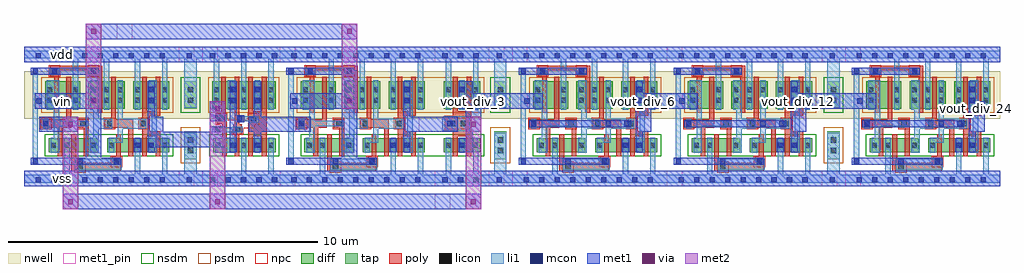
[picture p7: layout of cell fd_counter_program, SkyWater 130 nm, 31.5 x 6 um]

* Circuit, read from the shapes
.subckt fd_counter_program vdd vin vout_div_12 vout_div_24 vout_div_3 vout_div_6 vss
XM1 vss vout_div_3 fd_div_3_3/sc_dff_3/sky130_fd_pr__nfet_01v8_sc_dff_m3_8/D vss sky130_fd_pr__nfet_01v8 w=0.45 l=0.15
XM2 fd_div_3_3/sc_dff_3/sky130_fd_pr__nfet_01v8_sc_dff_m6_5/D vin vss vss sky130_fd_pr__nfet_01v8 w=0.45 l=0.15
XM3 fd_div_3_3/sc_dff_3/sky130_fd_pr__nfet_01v8_sc_dff_m5_6/D fd_div_3_3/sc_dff_3/sky130_fd_pr__nfet_01v8_sc_dff_m3_8/D fd_div_3_3/sc_dff_3/sky130_fd_pr__nfet_01v8_sc_dff_m6_5/D vss sky130_fd_pr__nfet_01v8 w=0.45 l=0.15
XM4 fd_div_3_3/sc_dff_3/sky130_fd_pr__nfet_01v8_sc_dff_m9_2/D vin fd_div_3_3/sc_dff_3/sky130_fd_pr__nfet_01v8_sc_dff_m8_3/D vss sky130_fd_pr__nfet_01v8 w=0.45 l=0.15
XM5 vss fd_div_3_3/sc_dff_3/sky130_fd_pr__nfet_01v8_sc_dff_m5_6/D fd_div_3_3/sc_dff_3/sky130_fd_pr__nfet_01v8_sc_dff_m9_2/D vss sky130_fd_pr__nfet_01v8 w=0.45 l=0.15
XM6 fd_div_3_3/sc_and2_2/b fd_div_3_3/sc_dff_3/sky130_fd_pr__nfet_01v8_sc_dff_m8_3/D vss vss sky130_fd_pr__nfet_01v8 w=0.45 l=0.15 m=2
XM7 fd_div_3_3/sc_and2_2/sky130_fd_pr__nfet_01v8_sc_and2_m4_2/D vout_div_3 fd_div_3_3/sc_and2_2/sky130_fd_pr__nfet_01v8_sc_and2_m3_3/D vss sky130_fd_pr__nfet_01v8 w=0.45 l=0.15
XM8 vss fd_div_3_3/sc_and2_2/b fd_div_3_3/sc_and2_2/sky130_fd_pr__nfet_01v8_sc_and2_m4_2/D vss sky130_fd_pr__nfet_01v8 w=0.45 l=0.15
XM9 fd_div_3_3/sc_dff_1/d fd_div_3_3/sc_and2_2/sky130_fd_pr__nfet_01v8_sc_and2_m3_3/D vss vss sky130_fd_pr__nfet_01v8 w=0.45 l=0.15 m=2
XM10 vss fd_div_3_3/sc_dff_1/d fd_div_3_3/sc_dff_1/sky130_fd_pr__nfet_01v8_sc_dff_m3_8/D vss sky130_fd_pr__nfet_01v8 w=0.45 l=0.15
XM11 fd_div_3_3/sc_dff_1/sky130_fd_pr__nfet_01v8_sc_dff_m6_5/D vin vss vss sky130_fd_pr__nfet_01v8 w=0.45 l=0.15
XM12 fd_div_3_3/sc_dff_1/sky130_fd_pr__nfet_01v8_sc_dff_m5_6/D fd_div_3_3/sc_dff_1/sky130_fd_pr__nfet_01v8_sc_dff_m3_8/D fd_div_3_3/sc_dff_1/sky130_fd_pr__nfet_01v8_sc_dff_m6_5/D vss sky130_fd_pr__nfet_01v8 w=0.45 l=0.15
XM13 fd_div_3_3/sc_dff_1/sky130_fd_pr__nfet_01v8_sc_dff_m9_2/D vin fd_div_3_3/sc_dff_1/sky130_fd_pr__nfet_01v8_sc_dff_m8_3/D vss sky130_fd_pr__nfet_01v8 w=0.45 l=0.15
XM14 vss fd_div_3_3/sc_dff_1/sky130_fd_pr__nfet_01v8_sc_dff_m5_6/D fd_div_3_3/sc_dff_1/sky130_fd_pr__nfet_01v8_sc_dff_m9_2/D vss sky130_fd_pr__nfet_01v8 w=0.45 l=0.15
XM15 fd_div_3_3/sc_dff_1/q fd_div_3_3/sc_dff_1/sky130_fd_pr__nfet_01v8_sc_dff_m8_3/D vss vss sky130_fd_pr__nfet_01v8 w=0.45 l=0.15 m=2
XM16 vout_div_3 fd_div_3_3/sc_dff_1/q vss vss sky130_fd_pr__nfet_01v8 w=0.45 l=0.15 m=2
XM17 vss fd_div_2_2/sky130_fd_pr__nfet_01v8_sc_dff_m8_3/D fd_div_2_2/sky130_fd_pr__nfet_01v8_sc_dff_m3_8/D vss sky130_fd_pr__nfet_01v8 w=0.45 l=0.15
XM18 fd_div_2_2/sky130_fd_pr__nfet_01v8_sc_dff_m6_5/D vout_div_3 vss vss sky130_fd_pr__nfet_01v8 w=0.45 l=0.15
XM19 fd_div_2_2/sky130_fd_pr__nfet_01v8_sc_dff_m5_6/D fd_div_2_2/sky130_fd_pr__nfet_01v8_sc_dff_m3_8/D fd_div_2_2/sky130_fd_pr__nfet_01v8_sc_dff_m6_5/D vss sky130_fd_pr__nfet_01v8 w=0.45 l=0.15
XM20 fd_div_2_2/sky130_fd_pr__nfet_01v8_sc_dff_m9_2/D vout_div_3 fd_div_2_2/sky130_fd_pr__nfet_01v8_sc_dff_m8_3/D vss sky130_fd_pr__nfet_01v8 w=0.45 l=0.15
XM21 vss fd_div_2_2/sky130_fd_pr__nfet_01v8_sc_dff_m5_6/D fd_div_2_2/sky130_fd_pr__nfet_01v8_sc_dff_m9_2/D vss sky130_fd_pr__nfet_01v8 w=0.45 l=0.15
XM22 vout_div_6 fd_div_2_2/sky130_fd_pr__nfet_01v8_sc_dff_m8_3/D vss vss sky130_fd_pr__nfet_01v8 w=0.45 l=0.15 m=2
XM23 vss fd_div_2_1/sky130_fd_pr__nfet_01v8_sc_dff_m8_3/D fd_div_2_1/sky130_fd_pr__nfet_01v8_sc_dff_m3_8/D vss sky130_fd_pr__nfet_01v8 w=0.45 l=0.15
XM24 fd_div_2_1/sky130_fd_pr__nfet_01v8_sc_dff_m6_5/D vout_div_6 vss vss sky130_fd_pr__nfet_01v8 w=0.45 l=0.15
XM25 fd_div_2_1/sky130_fd_pr__nfet_01v8_sc_dff_m5_6/D fd_div_2_1/sky130_fd_pr__nfet_01v8_sc_dff_m3_8/D fd_div_2_1/sky130_fd_pr__nfet_01v8_sc_dff_m6_5/D vss sky130_fd_pr__nfet_01v8 w=0.45 l=0.15
XM26 fd_div_2_1/sky130_fd_pr__nfet_01v8_sc_dff_m9_2/D vout_div_6 fd_div_2_1/sky130_fd_pr__nfet_01v8_sc_dff_m8_3/D vss sky130_fd_pr__nfet_01v8 w=0.45 l=0.15
XM27 vss fd_div_2_1/sky130_fd_pr__nfet_01v8_sc_dff_m5_6/D fd_div_2_1/sky130_fd_pr__nfet_01v8_sc_dff_m9_2/D vss sky130_fd_pr__nfet_01v8 w=0.45 l=0.15
XM28 vout_div_12 fd_div_2_1/sky130_fd_pr__nfet_01v8_sc_dff_m8_3/D vss vss sky130_fd_pr__nfet_01v8 w=0.45 l=0.15 m=2
XM29 vss fd_div_2_0/sky130_fd_pr__nfet_01v8_sc_dff_m8_3/D fd_div_2_0/sky130_fd_pr__nfet_01v8_sc_dff_m3_8/D vss sky130_fd_pr__nfet_01v8 w=0.45 l=0.15
XM30 fd_div_2_0/sky130_fd_pr__nfet_01v8_sc_dff_m6_5/D vout_div_12 vss vss sky130_fd_pr__nfet_01v8 w=0.45 l=0.15
XM31 fd_div_2_0/sky130_fd_pr__nfet_01v8_sc_dff_m5_6/D fd_div_2_0/sky130_fd_pr__nfet_01v8_sc_dff_m3_8/D fd_div_2_0/sky130_fd_pr__nfet_01v8_sc_dff_m6_5/D vss sky130_fd_pr__nfet_01v8 w=0.45 l=0.15
XM32 fd_div_2_0/sky130_fd_pr__nfet_01v8_sc_dff_m9_2/D vout_div_12 fd_div_2_0/sky130_fd_pr__nfet_01v8_sc_dff_m8_3/D vss sky130_fd_pr__nfet_01v8 w=0.45 l=0.15
XM33 vss fd_div_2_0/sky130_fd_pr__nfet_01v8_sc_dff_m5_6/D fd_div_2_0/sky130_fd_pr__nfet_01v8_sc_dff_m9_2/D vss sky130_fd_pr__nfet_01v8 w=0.45 l=0.15
XM34 vout_div_24 fd_div_2_0/sky130_fd_pr__nfet_01v8_sc_dff_m8_3/D vss vss sky130_fd_pr__nfet_01v8 w=0.45 l=0.15 m=2
XM35 fd_div_3_3/sc_dff_3/sky130_fd_pr__pfet_01v8_sc_dff_m1_10/D vin fd_div_3_3/sc_dff_3/sky130_fd_pr__nfet_01v8_sc_dff_m3_8/D vdd sky130_fd_pr__pfet_01v8 w=0.9 l=0.15
XM36 vdd vout_div_3 fd_div_3_3/sc_dff_3/sky130_fd_pr__pfet_01v8_sc_dff_m1_10/D vdd sky130_fd_pr__pfet_01v8 w=0.9 l=0.15
XM37 vdd vin fd_div_3_3/sc_dff_3/sky130_fd_pr__nfet_01v8_sc_dff_m5_6/D vdd sky130_fd_pr__pfet_01v8 w=0.9 l=0.15
XM38 fd_div_3_3/sc_dff_3/sky130_fd_pr__nfet_01v8_sc_dff_m8_3/D fd_div_3_3/sc_dff_3/sky130_fd_pr__nfet_01v8_sc_dff_m5_6/D vdd vdd sky130_fd_pr__pfet_01v8 w=0.9 l=0.15
XM39 fd_div_3_3/sc_and2_2/b fd_div_3_3/sc_dff_3/sky130_fd_pr__nfet_01v8_sc_dff_m8_3/D vdd vdd sky130_fd_pr__pfet_01v8 w=0.9 l=0.15 m=2
XM40 fd_div_3_3/sc_and2_2/sky130_fd_pr__nfet_01v8_sc_and2_m3_3/D vout_div_3 vdd vdd sky130_fd_pr__pfet_01v8 w=0.9 l=0.15
XM41 vdd fd_div_3_3/sc_and2_2/b fd_div_3_3/sc_and2_2/sky130_fd_pr__nfet_01v8_sc_and2_m3_3/D vdd sky130_fd_pr__pfet_01v8 w=0.9 l=0.15
XM42 fd_div_3_3/sc_dff_1/d fd_div_3_3/sc_and2_2/sky130_fd_pr__nfet_01v8_sc_and2_m3_3/D vdd vdd sky130_fd_pr__pfet_01v8 w=0.9 l=0.15 m=2
XM43 fd_div_3_3/sc_dff_1/sky130_fd_pr__pfet_01v8_sc_dff_m1_10/D vin fd_div_3_3/sc_dff_1/sky130_fd_pr__nfet_01v8_sc_dff_m3_8/D vdd sky130_fd_pr__pfet_01v8 w=0.9 l=0.15
XM44 vdd fd_div_3_3/sc_dff_1/d fd_div_3_3/sc_dff_1/sky130_fd_pr__pfet_01v8_sc_dff_m1_10/D vdd sky130_fd_pr__pfet_01v8 w=0.9 l=0.15
XM45 vdd vin fd_div_3_3/sc_dff_1/sky130_fd_pr__nfet_01v8_sc_dff_m5_6/D vdd sky130_fd_pr__pfet_01v8 w=0.9 l=0.15
XM46 fd_div_3_3/sc_dff_1/sky130_fd_pr__nfet_01v8_sc_dff_m8_3/D fd_div_3_3/sc_dff_1/sky130_fd_pr__nfet_01v8_sc_dff_m5_6/D vdd vdd sky130_fd_pr__pfet_01v8 w=0.9 l=0.15
XM47 fd_div_3_3/sc_dff_1/q fd_div_3_3/sc_dff_1/sky130_fd_pr__nfet_01v8_sc_dff_m8_3/D vdd vdd sky130_fd_pr__pfet_01v8 w=0.9 l=0.15 m=2
XM48 vout_div_3 fd_div_3_3/sc_dff_1/q vdd vdd sky130_fd_pr__pfet_01v8 w=0.9 l=0.15 m=2
XM49 fd_div_2_2/sky130_fd_pr__pfet_01v8_sc_dff_m1_10/D vout_div_3 fd_div_2_2/sky130_fd_pr__nfet_01v8_sc_dff_m3_8/D vdd sky130_fd_pr__pfet_01v8 w=0.9 l=0.15
XM50 vdd fd_div_2_2/sky130_fd_pr__nfet_01v8_sc_dff_m8_3/D fd_div_2_2/sky130_fd_pr__pfet_01v8_sc_dff_m1_10/D vdd sky130_fd_pr__pfet_01v8 w=0.9 l=0.15
XM51 vdd vout_div_3 fd_div_2_2/sky130_fd_pr__nfet_01v8_sc_dff_m5_6/D vdd sky130_fd_pr__pfet_01v8 w=0.9 l=0.15
XM52 fd_div_2_2/sky130_fd_pr__nfet_01v8_sc_dff_m8_3/D fd_div_2_2/sky130_fd_pr__nfet_01v8_sc_dff_m5_6/D vdd vdd sky130_fd_pr__pfet_01v8 w=0.9 l=0.15
XM53 vout_div_6 fd_div_2_2/sky130_fd_pr__nfet_01v8_sc_dff_m8_3/D vdd vdd sky130_fd_pr__pfet_01v8 w=0.9 l=0.15 m=2
XM54 fd_div_2_1/sky130_fd_pr__pfet_01v8_sc_dff_m1_10/D vout_div_6 fd_div_2_1/sky130_fd_pr__nfet_01v8_sc_dff_m3_8/D vdd sky130_fd_pr__pfet_01v8 w=0.9 l=0.15
XM55 vdd fd_div_2_1/sky130_fd_pr__nfet_01v8_sc_dff_m8_3/D fd_div_2_1/sky130_fd_pr__pfet_01v8_sc_dff_m1_10/D vdd sky130_fd_pr__pfet_01v8 w=0.9 l=0.15
XM56 vdd vout_div_6 fd_div_2_1/sky130_fd_pr__nfet_01v8_sc_dff_m5_6/D vdd sky130_fd_pr__pfet_01v8 w=0.9 l=0.15
XM57 fd_div_2_1/sky130_fd_pr__nfet_01v8_sc_dff_m8_3/D fd_div_2_1/sky130_fd_pr__nfet_01v8_sc_dff_m5_6/D vdd vdd sky130_fd_pr__pfet_01v8 w=0.9 l=0.15
XM58 vout_div_12 fd_div_2_1/sky130_fd_pr__nfet_01v8_sc_dff_m8_3/D vdd vdd sky130_fd_pr__pfet_01v8 w=0.9 l=0.15 m=2
XM59 fd_div_2_0/sky130_fd_pr__pfet_01v8_sc_dff_m1_10/D vout_div_12 fd_div_2_0/sky130_fd_pr__nfet_01v8_sc_dff_m3_8/D vdd sky130_fd_pr__pfet_01v8 w=0.9 l=0.15
XM60 vdd fd_div_2_0/sky130_fd_pr__nfet_01v8_sc_dff_m8_3/D fd_div_2_0/sky130_fd_pr__pfet_01v8_sc_dff_m1_10/D vdd sky130_fd_pr__pfet_01v8 w=0.9 l=0.15
XM61 vdd vout_div_12 fd_div_2_0/sky130_fd_pr__nfet_01v8_sc_dff_m5_6/D vdd sky130_fd_pr__pfet_01v8 w=0.9 l=0.15
XM62 fd_div_2_0/sky130_fd_pr__nfet_01v8_sc_dff_m8_3/D fd_div_2_0/sky130_fd_pr__nfet_01v8_sc_dff_m5_6/D vdd vdd sky130_fd_pr__pfet_01v8 w=0.9 l=0.15
XM63 vout_div_24 fd_div_2_0/sky130_fd_pr__nfet_01v8_sc_dff_m8_3/D vdd vdd sky130_fd_pr__pfet_01v8 w=0.9 l=0.15 m=2
.ends

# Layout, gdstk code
from math import pi, radians
import gdstk
lib = gdstk.Library(unit=1e-6, precision=1e-09)
def R(c, l, rs):  # rectangles x0, y0, x1, y1
    for r in rs: c.add(gdstk.rectangle(r[:2], r[2:], *l))
def A(c, l, x, y, w, h, nx, ny, dx, dy):  # array of equal rectangles
    R(c, l, [(x+i*dx, y+j*dy, x+i*dx+w, y+j*dy+h) for i in range(nx) for j in range(ny)])
nwell = (64, 20)
diff = (65, 20)
tap = (65, 44)
poly = (66, 20)
licon = (66, 44)
li1 = (67, 20)
mcon = (67, 44)
met1_pin = (68, 16)
met1 = (68, 20)
via = (68, 44)
met2 = (69, 20)
nsdm = (93, 44)
psdm = (94, 20)
npc = (95, 20)

sky130_fd_pr__nfet_01v8_ = lib.new_cell('sky130_fd_pr__nfet_01v8_scc_inv_m2')
R(sky130_fd_pr__nfet_01v8_, diff, [(7.265,-4.22,8.435,-3.77)])
R(sky130_fd_pr__nfet_01v8_, poly, [(7.555,-4.35,7.705,-3.695), (7.995,-4.35,8.145,-3.695), (7.555,-3.695,8.145,-3.545)])
A(sky130_fd_pr__nfet_01v8_, licon, 7.325, -4.08, 0.17, 0.17, 3, 1, 0.44, 0)
A(sky130_fd_pr__nfet_01v8_, li1, 7.325, -4.24, 0.17, 0.49, 3, 1, 0.44, 0)
R(sky130_fd_pr__nfet_01v8_, mcon, [(7.765,-4.08,7.935,-3.91)])
R(sky130_fd_pr__nfet_01v8_, met1, [(7.735,-4.22,7.965,-3.77)])
R(sky130_fd_pr__nfet_01v8_, nsdm, [(7.14,-4.345,8.56,-3.645)])
sky130_fd_pr__nfet_01v8_.add(gdstk.Label('D0', (7.85,-3.995), layer=67, texttype=5))
sky130_fd_pr__nfet_01v8_.add(gdstk.Label('S0', (7.41,-3.995), layer=67, texttype=5))
sky130_fd_pr__nfet_01v8_.add(gdstk.Label('D1', (7.85,-3.995), layer=67, texttype=5))
sky130_fd_pr__nfet_01v8_.add(gdstk.Label('S1', (8.29,-3.995), layer=67, texttype=5))

sky130_fd_pr__pfet_01v8_ = lib.new_cell('sky130_fd_pr__pfet_01v8_scc_inv_m1')
R(sky130_fd_pr__pfet_01v8_, nwell, [(6.85,-4.65,8.38,-3.13)])
R(sky130_fd_pr__pfet_01v8_, diff, [(7.03,-4.34,8.2,-3.44)])
R(sky130_fd_pr__pfet_01v8_, poly, [(7.32,-4.565,7.91,-4.415), (7.32,-4.415,7.47,-3.31), (7.76,-4.415,7.91,-3.31)])
A(sky130_fd_pr__pfet_01v8_, licon, 7.09, -4.145, 0.17, 0.17, 3, 2, 0.44, 0.34)
A(sky130_fd_pr__pfet_01v8_, li1, 7.09, -4.36, 0.17, 0.94, 3, 1, 0.44, 0)
R(sky130_fd_pr__pfet_01v8_, mcon, [(7.53,-4.155,7.7,-3.985), (7.53,-3.795,7.7,-3.625)])
R(sky130_fd_pr__pfet_01v8_, met1, [(7.5,-4.34,7.73,-3.44)])
R(sky130_fd_pr__pfet_01v8_, psdm, [(6.905,-4.465,8.325,-3.315)])
sky130_fd_pr__pfet_01v8_.add(gdstk.Label('D0', (7.615,-3.89), layer=67, texttype=5))
sky130_fd_pr__pfet_01v8_.add(gdstk.Label('S0', (7.175,-3.89), layer=67, texttype=5))
sky130_fd_pr__pfet_01v8_.add(gdstk.Label('D1', (7.615,-3.89), layer=67, texttype=5))
sky130_fd_pr__pfet_01v8_.add(gdstk.Label('S1', (8.055,-3.89), layer=67, texttype=5))

c_sky130_fd_pr__nfet_01v8_ = lib.new_cell('sky130_fd_pr__nfet_01v8_sc_dff_m9')
R(c_sky130_fd_pr__nfet_01v8_, diff, [(-0.325,-0.225,0.365,0.225)])
R(c_sky130_fd_pr__nfet_01v8_, poly, [(-0.075,-0.355,0.075,0.355)])
R(c_sky130_fd_pr__nfet_01v8_, licon, [(0.135,-0.085,0.305,0.085)])
R(c_sky130_fd_pr__nfet_01v8_, li1, [(0.135,-0.245,0.305,0.245)])
R(c_sky130_fd_pr__nfet_01v8_, mcon, [(0.135,-0.085,0.305,0.085)])
R(c_sky130_fd_pr__nfet_01v8_, met1, [(0.105,-0.225,0.335,0.225)])
R(c_sky130_fd_pr__nfet_01v8_, nsdm, [(-0.45,-0.35,0.49,0.35)])
c_sky130_fd_pr__nfet_01v8_.add(gdstk.Label('D', (-0.22,0), layer=65, texttype=6))
c_sky130_fd_pr__nfet_01v8_.add(gdstk.Label('S', (0.22,0), layer=67, texttype=5))

c_sky130_fd_pr__nfet_01v8__ = lib.new_cell('sky130_fd_pr__nfet_01v8_sc_dff_m8')
R(c_sky130_fd_pr__nfet_01v8__, diff, [(-0.365,-0.225,0.325,0.225)])
R(c_sky130_fd_pr__nfet_01v8__, poly, [(-0.075,-0.355,0.075,0.355)])
R(c_sky130_fd_pr__nfet_01v8__, licon, [(-0.305,-0.085,-0.135,0.085)])
R(c_sky130_fd_pr__nfet_01v8__, li1, [(-0.305,-0.245,-0.135,0.245)])
R(c_sky130_fd_pr__nfet_01v8__, nsdm, [(-0.49,-0.35,0.45,0.35)])
c_sky130_fd_pr__nfet_01v8__.add(gdstk.Label('D', (-0.22,0), layer=67, texttype=5))
c_sky130_fd_pr__nfet_01v8__.add(gdstk.Label('S', (0.22,0), layer=65, texttype=6))

c_sky130_fd_pr__pfet_01v8_ = lib.new_cell('sky130_fd_pr__pfet_01v8_sc_dff_m7')
R(c_sky130_fd_pr__pfet_01v8_, nwell, [(-0.545,-0.76,0.545,0.76)])
R(c_sky130_fd_pr__pfet_01v8_, diff, [(-0.365,-0.45,0.365,0.45)])
R(c_sky130_fd_pr__pfet_01v8_, poly, [(-0.075,-0.58,0.075,0.58)])
R(c_sky130_fd_pr__pfet_01v8_, licon, [(-0.305,-0.255,-0.135,-0.085), (0.135,-0.255,0.305,-0.085), (-0.305,0.085,-0.135,0.255), (0.135,0.085,0.305,0.255)])
R(c_sky130_fd_pr__pfet_01v8_, li1, [(-0.305,-0.47,-0.135,0.47), (0.135,-0.47,0.305,0.47)])
R(c_sky130_fd_pr__pfet_01v8_, psdm, [(-0.49,-0.575,0.49,0.575)])
c_sky130_fd_pr__pfet_01v8_.add(gdstk.Label('D', (-0.22,0), layer=67, texttype=5))
c_sky130_fd_pr__pfet_01v8_.add(gdstk.Label('S', (0.22,0), layer=67, texttype=5))

c_sky130_fd_pr__nfet_01v8___ = lib.new_cell('sky130_fd_pr__nfet_01v8_sc_dff_m6')
R(c_sky130_fd_pr__nfet_01v8___, diff, [(-0.325,-0.225,0.365,0.225)])
R(c_sky130_fd_pr__nfet_01v8___, poly, [(-0.075,-0.355,0.075,0.355)])
R(c_sky130_fd_pr__nfet_01v8___, licon, [(0.135,-0.085,0.305,0.085)])
R(c_sky130_fd_pr__nfet_01v8___, li1, [(0.135,-0.245,0.305,0.245)])
R(c_sky130_fd_pr__nfet_01v8___, nsdm, [(-0.45,-0.35,0.49,0.35)])
c_sky130_fd_pr__nfet_01v8___.add(gdstk.Label('D', (-0.22,0), layer=65, texttype=6))
c_sky130_fd_pr__nfet_01v8___.add(gdstk.Label('S', (0.22,0), layer=67, texttype=5))

c_sky130_fd_pr__nfet_01v8____ = lib.new_cell('sky130_fd_pr__nfet_01v8_sc_dff_m5')
R(c_sky130_fd_pr__nfet_01v8____, diff, [(-0.365,-0.225,0.325,0.225)])
R(c_sky130_fd_pr__nfet_01v8____, poly, [(-0.075,-0.355,0.075,0.355)])
R(c_sky130_fd_pr__nfet_01v8____, licon, [(-0.305,-0.085,-0.135,0.085)])
R(c_sky130_fd_pr__nfet_01v8____, li1, [(-0.305,-0.245,-0.135,0.245)])
R(c_sky130_fd_pr__nfet_01v8____, nsdm, [(-0.49,-0.35,0.45,0.35)])
c_sky130_fd_pr__nfet_01v8____.add(gdstk.Label('D', (-0.22,0), layer=67, texttype=5))
c_sky130_fd_pr__nfet_01v8____.add(gdstk.Label('S', (0.22,0), layer=65, texttype=6))

c_sky130_fd_pr__pfet_01v8__ = lib.new_cell('sky130_fd_pr__pfet_01v8_sc_dff_m4')
R(c_sky130_fd_pr__pfet_01v8__, nwell, [(-0.545,-0.76,0.545,0.76)])
R(c_sky130_fd_pr__pfet_01v8__, diff, [(-0.365,-0.45,0.365,0.45)])
R(c_sky130_fd_pr__pfet_01v8__, poly, [(-0.075,-0.58,0.075,0.58)])
R(c_sky130_fd_pr__pfet_01v8__, licon, [(-0.305,-0.255,-0.135,-0.085), (0.135,-0.255,0.305,-0.085), (-0.305,0.085,-0.135,0.255), (0.135,0.085,0.305,0.255)])
R(c_sky130_fd_pr__pfet_01v8__, li1, [(-0.305,-0.47,-0.135,0.47), (0.135,-0.47,0.305,0.47)])
R(c_sky130_fd_pr__pfet_01v8__, psdm, [(-0.49,-0.575,0.49,0.575)])
c_sky130_fd_pr__pfet_01v8__.add(gdstk.Label('D', (-0.22,0), layer=67, texttype=5))
c_sky130_fd_pr__pfet_01v8__.add(gdstk.Label('S', (0.22,0), layer=67, texttype=5))

c_sky130_fd_pr__nfet_01v8_____ = lib.new_cell('sky130_fd_pr__nfet_01v8_sc_dff_m3')
R(c_sky130_fd_pr__nfet_01v8_____, diff, [(4.75,-7.11,5.48,-6.66)])
R(c_sky130_fd_pr__nfet_01v8_____, poly, [(5.04,-7.24,5.19,-6.53)])
R(c_sky130_fd_pr__nfet_01v8_____, licon, [(4.81,-6.97,4.98,-6.8), (5.25,-6.97,5.42,-6.8)])
R(c_sky130_fd_pr__nfet_01v8_____, li1, [(4.81,-7.13,4.98,-6.64), (5.25,-7.13,5.42,-6.64)])
R(c_sky130_fd_pr__nfet_01v8_____, nsdm, [(4.625,-7.235,5.605,-6.535)])
c_sky130_fd_pr__nfet_01v8_____.add(gdstk.Label('D', (4.895,-6.885), layer=67, texttype=5))
c_sky130_fd_pr__nfet_01v8_____.add(gdstk.Label('S', (5.335,-6.885), layer=67, texttype=5))

c_sky130_fd_pr__pfet_01v8___ = lib.new_cell('sky130_fd_pr__pfet_01v8_sc_dff_m2')
R(c_sky130_fd_pr__pfet_01v8___, nwell, [(-0.545,-0.76,0.505,0.76)])
R(c_sky130_fd_pr__pfet_01v8___, diff, [(-0.365,-0.45,0.325,0.45)])
R(c_sky130_fd_pr__pfet_01v8___, poly, [(-0.075,-0.58,0.075,0.58)])
R(c_sky130_fd_pr__pfet_01v8___, licon, [(-0.305,-0.255,-0.135,-0.085), (-0.305,0.085,-0.135,0.255)])
R(c_sky130_fd_pr__pfet_01v8___, li1, [(-0.305,-0.47,-0.135,0.47)])
R(c_sky130_fd_pr__pfet_01v8___, psdm, [(-0.49,-0.575,0.45,0.575)])
c_sky130_fd_pr__pfet_01v8___.add(gdstk.Label('D', (-0.22,0), layer=67, texttype=5))
c_sky130_fd_pr__pfet_01v8___.add(gdstk.Label('S', (0.22,0), layer=65, texttype=6))

c_sky130_fd_pr__pfet_01v8____ = lib.new_cell('sky130_fd_pr__pfet_01v8_sc_dff_m1')
R(c_sky130_fd_pr__pfet_01v8____, nwell, [(-0.545,-0.76,0.545,0.76)])
R(c_sky130_fd_pr__pfet_01v8____, diff, [(-0.325,-0.45,0.365,0.45)])
R(c_sky130_fd_pr__pfet_01v8____, poly, [(-0.075,-0.58,0.075,0.58)])
R(c_sky130_fd_pr__pfet_01v8____, licon, [(0.135,-0.255,0.305,-0.085), (0.135,0.085,0.305,0.255)])
R(c_sky130_fd_pr__pfet_01v8____, li1, [(0.135,-0.47,0.305,0.47)])
R(c_sky130_fd_pr__pfet_01v8____, psdm, [(-0.45,-0.575,0.49,0.575)])
c_sky130_fd_pr__pfet_01v8____.add(gdstk.Label('D', (-0.22,0), layer=65, texttype=6))
c_sky130_fd_pr__pfet_01v8____.add(gdstk.Label('S', (0.22,0), layer=67, texttype=5))

fd_div_2 = lib.new_cell('fd_div_2')
R(fd_div_2, nwell, [(-1,-7.065,4,-5.545)])
R(fd_div_2, poly, [(0.53,-8.765,2.12,-8.495), (0.53,-8.495,0.68,-8.285), (1.85,-8.495,2.12,-8.285), (0.09,-7.575,0.24,-7.365), (0.93,-7.575,1.08,-7.365), (2.37,-7.575,2.52,-7.365), (2.81,-7.48,3.06,-7.395), (2.73,-7.395,3.06,-7.065), (-0.46,-7.365,0.52,-7.095), (0.74,-7.365,1.08,-7.095), (1.6,-7.365,2.52,-7.095), (0.37,-7.095,0.52,-6.885), (1.81,-7.095,1.96,-6.885), (2.81,-7.065,3.06,-6.98), (1.37,-5.745,1.52,-5.7), (-0.03,-5.725,0.12,-5.7), (-0.15,-5.7,0.12,-5.515), (1.11,-5.7,1.52,-5.515), (-0.15,-5.515,1.52,-5.365)])
R(fd_div_2, licon, [(0.72,-8.715,0.89,-8.545), (1.9,-8.535,2.07,-8.365), (-0.38,-7.315,-0.21,-7.145), (0.82,-7.315,0.99,-7.145), (1.68,-7.315,1.85,-7.145), (2.78,-7.315,2.95,-7.145), (-0.1,-5.62,0.07,-5.45), (1.16,-5.62,1.33,-5.45)])
A(fd_div_2, li1, 0.58, -5.835, 0.17, 0.71, 3, 1, 1, 0)
R(fd_div_2, li1, [(-1,-9.135,4,-8.885), (0.3,-8.885,0.47,-8.175), (2.58,-8.885,2.75,-8.175), (3.46,-8.885,3.63,-8.175), (0.64,-8.715,2.15,-8.365), (-0.72,-8.565,-0.55,-6.75), (-0.04,-8.175,0.13,-7.315), (1.24,-8.175,1.41,-7.39), (3.12,-8.175,3.29,-5.835), (1.91,-7.855,2.19,-7.685), (2.02,-7.685,2.19,-7.395), (-0.38,-7.395,-0.21,-7.065), (1.68,-7.395,1.85,-7.39), (2.02,-7.395,2.95,-7.065), (1.24,-7.39,1.85,-7.065), (-0.04,-7.315,1.07,-7.145), (-0.04,-7.145,0.13,-6.775), (1.24,-7.065,1.41,-5.835), (2.02,-7.065,2.19,-6.775), (-0.09,-6.775,0.13,-5.835), (-0.72,-6.75,-0.43,-6.25), (-0.72,-6.25,-0.55,-5.42), (3.46,-5.835,3.63,-5.125), (-0.18,-5.62,0.15,-5.45), (1.08,-5.62,1.41,-5.45), (-1,-5.125,4,-4.875)])
A(fd_div_2, mcon, -0.625, -9.125, 0.17, 0.17, 9, 2, 0.5, 4)
R(fd_div_2, mcon, [(-0.72,-8.535,-0.55,-8.365), (0.72,-8.535,0.89,-8.365), (1.9,-8.535,2.07,-8.365), (-0.38,-7.315,-0.21,-7.145), (2.02,-7.315,2.19,-7.145), (2.62,-7.315,2.79,-7.145), (-0.6,-6.585,-0.43,-6.415), (-0.72,-5.62,-0.55,-5.45), (-0.1,-5.62,0.07,-5.45), (1.16,-5.62,1.33,-5.45)])
R(fd_div_2, met1_pin, [(-1,-9.25,-0.5,-8.75), (3,-7.5,3.5,-7), (-0.5,-6.75,0,-6.25), (-1,-5.25,-0.5,-4.75)])
R(fd_div_2, met1, [(-1,-9.25,4,-8.75), (-0.78,-8.565,2.13,-8.335), (2.99,-7.705,3.22,-7.5), (2.99,-7.5,3.5,-7), (-0.44,-7.345,2.85,-7.115), (2.99,-7,3.22,-6.755), (-0.66,-6.75,0,-6.25), (-0.78,-5.65,1.41,-5.42), (-1,-5.25,4,-4.75)])
R(fd_div_2, nsdm, [(1.495,-8.28,1.555,-7.58)])
R(fd_div_2, psdm, [(0.935,-6.88,0.955,-5.73), (2.375,-6.88,2.395,-5.73)])
R(fd_div_2, npc, [(0.62,-8.815,0.99,-8.445), (1.8,-8.635,2.17,-8.265), (-0.48,-7.415,-0.11,-7.045), (0.72,-7.415,1.09,-7.045), (1.58,-7.415,1.95,-7.045), (2.68,-7.415,3.05,-7.045), (-0.2,-5.72,0.17,-5.35), (1.06,-5.72,1.43,-5.35)])
fd_div_2.add(gdstk.Reference(sky130_fd_pr__nfet_01v8_, (-4.745,-3.935)))
fd_div_2.add(gdstk.Reference(sky130_fd_pr__pfet_01v8_, (-4.51,-2.415)))
fd_div_2.add(gdstk.Reference(c_sky130_fd_pr__nfet_01v8_, (2.445,-7.93)))
fd_div_2.add(gdstk.Reference(c_sky130_fd_pr__nfet_01v8__, (2.045,-7.93)))
fd_div_2.add(gdstk.Reference(c_sky130_fd_pr__pfet_01v8_, (1.885,-6.305), rotation=pi))
fd_div_2.add(gdstk.Reference(c_sky130_fd_pr__nfet_01v8___, (0.605,-7.93), rotation=pi))
fd_div_2.add(gdstk.Reference(c_sky130_fd_pr__nfet_01v8____, (1.005,-7.93), rotation=pi))
fd_div_2.add(gdstk.Reference(c_sky130_fd_pr__pfet_01v8__, (1.445,-6.305)))
fd_div_2.add(gdstk.Reference(c_sky130_fd_pr__nfet_01v8_____, (-4.95,-1.045)))
fd_div_2.add(gdstk.Reference(c_sky130_fd_pr__pfet_01v8___, (0.045,-6.305)))
fd_div_2.add(gdstk.Reference(c_sky130_fd_pr__pfet_01v8____, (0.445,-6.305)))
fd_div_2.add(gdstk.Label('vdd', (-0.75,-5), layer=68, texttype=5))
fd_div_2.add(gdstk.Label('vss', (-0.75,-9), layer=68, texttype=5))
fd_div_2.add(gdstk.Label('vin', (-0.25,-6.5), layer=68, texttype=5))
fd_div_2.add(gdstk.Label('vout', (3.25,-7.25), layer=68, texttype=5))

sc_not = lib.new_cell('sc_not')
R(sc_not, nwell, [(2.75,-3.815,4.5,-2.295)])
R(sc_not, poly, [(3.075,-4.23,3.935,-3.73)])
R(sc_not, licon, [(3.25,-4.065,3.42,-3.895), (3.59,-4.065,3.76,-3.895)])
R(sc_not, li1, [(2.75,-5.885,4.5,-5.635), (3.115,-5.635,3.285,-4.925), (3.995,-5.635,4.165,-4.925), (3.03,-4.225,3.885,-4.145), (3,-4.145,3.885,-3.815), (3.03,-3.815,3.885,-3.735), (3.115,-2.585,3.285,-1.875), (3.995,-2.585,4.165,-1.875), (2.75,-1.875,4.5,-1.625)])
A(sc_not, mcon, 3, -5.875, 0.17, 0.17, 3, 2, 0.5, 4)
R(sc_not, mcon, [(3.165,-4.065,3.335,-3.895)])
R(sc_not, met1_pin, [(2.75,-6,3.25,-5.5), (3,-4.25,3.5,-3.75), (3.75,-4.25,4.25,-3.75), (2.75,-2,3.25,-1.5)])
R(sc_not, met1, [(2.75,-6,4.5,-5.5), (3.75,-4.905,3.98,-4.25), (3,-4.25,3.5,-3.75), (3.75,-4.25,4.25,-3.75), (3.75,-3.75,3.98,-2.605), (2.75,-2,4.5,-1.5)])
R(sc_not, npc, [(3.15,-4.165,3.86,-3.795)])
sc_not.add(gdstk.Reference(sky130_fd_pr__pfet_01v8_, (-3.975,0.835)))
sc_not.add(gdstk.Reference(sky130_fd_pr__nfet_01v8_, (-4.21,-0.685)))
sc_not.add(gdstk.Label('vdd', (3,-1.75), layer=68, texttype=5))
sc_not.add(gdstk.Label('vss', (3,-5.75), layer=68, texttype=5))
sc_not.add(gdstk.Label('x', (3.25,-4), layer=68, texttype=5))
sc_not.add(gdstk.Label('y', (4,-4), layer=68, texttype=5))

sc_dff = lib.new_cell('sc_dff')
R(sc_dff, nwell, [(2.25,-6.815,7.25,-5.295)])
R(sc_dff, poly, [(3.78,-8.515,5.37,-8.245), (3.78,-8.245,3.93,-8.035), (5.1,-8.245,5.37,-8.035), (3.34,-7.325,3.49,-7.115), (4.18,-7.325,4.33,-7.115), (5.62,-7.325,5.77,-7.115), (6.06,-7.23,6.31,-7.145), (5.98,-7.145,6.31,-6.815), (2.79,-7.115,3.77,-6.845), (3.99,-7.115,4.33,-6.845), (4.85,-7.115,5.77,-6.845), (3.62,-6.845,3.77,-6.635), (5.06,-6.845,5.21,-6.635), (6.06,-6.815,6.31,-6.73), (4.62,-5.495,4.77,-5.45), (3.22,-5.475,3.37,-5.45), (3.1,-5.45,3.37,-5.265), (4.36,-5.45,4.77,-5.265), (3.1,-5.265,4.77,-5.115)])
R(sc_dff, licon, [(3.97,-8.465,4.14,-8.295), (5.15,-8.285,5.32,-8.115), (2.87,-7.065,3.04,-6.895), (4.07,-7.065,4.24,-6.895), (4.93,-7.065,5.1,-6.895), (6.03,-7.065,6.2,-6.895), (3.15,-5.37,3.32,-5.2), (4.41,-5.37,4.58,-5.2)])
A(sc_dff, li1, 3.83, -5.585, 0.17, 0.71, 3, 1, 1, 0)
R(sc_dff, li1, [(2.25,-8.885,7.25,-8.635), (3.55,-8.635,3.72,-7.925), (5.83,-8.635,6,-7.925), (6.71,-8.635,6.88,-7.925), (3.89,-8.465,5.4,-8.115), (2.53,-8.315,2.7,-6.5), (3.21,-7.925,3.38,-7.065), (4.49,-7.925,4.66,-7.14), (6.37,-7.925,6.54,-5.585), (5.16,-7.605,5.44,-7.435), (5.27,-7.435,5.44,-7.145), (2.87,-7.145,3.04,-6.815), (4.93,-7.145,5.1,-7.14), (5.27,-7.145,6.2,-6.815), (4.49,-7.14,5.1,-6.815), (3.21,-7.065,4.32,-6.895), (3.21,-6.895,3.38,-6.525), (4.49,-6.815,4.66,-5.585), (5.27,-6.815,5.44,-6.525), (3.16,-6.525,3.38,-5.585), (2.53,-6.5,2.82,-6), (2.53,-6,2.7,-5.17), (6.71,-5.585,6.88,-4.875), (3.07,-5.37,3.4,-5.2), (4.33,-5.37,4.66,-5.2), (2.25,-4.875,7.25,-4.625)])
A(sc_dff, mcon, 2.625, -8.875, 0.17, 0.17, 9, 2, 0.5, 4)
R(sc_dff, mcon, [(2.53,-8.285,2.7,-8.115), (3.97,-8.285,4.14,-8.115), (5.15,-8.285,5.32,-8.115), (2.87,-7.065,3.04,-6.895), (2.65,-6.335,2.82,-6.165), (2.53,-5.37,2.7,-5.2), (3.15,-5.37,3.32,-5.2), (4.41,-5.37,4.58,-5.2)])
R(sc_dff, met1_pin, [(2.25,-9,2.75,-8.5), (2.75,-7.25,3.25,-6.75), (6.25,-7.25,6.75,-6.75), (2.75,-6.5,3.25,-6), (2.25,-5,2.75,-4.5)])
R(sc_dff, met1, [(2.25,-9,7.25,-8.5), (2.47,-8.315,5.38,-8.085), (6.24,-7.455,6.47,-7.25), (2.75,-7.25,3.25,-6.75), (6.24,-7.25,6.75,-6.75), (6.24,-6.75,6.47,-6.505), (2.59,-6.5,3.25,-6), (2.47,-5.4,4.66,-5.17), (2.25,-5,7.25,-4.5)])
R(sc_dff, nsdm, [(4.745,-8.03,4.805,-7.33)])
R(sc_dff, psdm, [(4.185,-6.63,4.205,-5.48), (5.625,-6.63,5.645,-5.48)])
R(sc_dff, npc, [(3.87,-8.565,4.24,-8.195), (5.05,-8.385,5.42,-8.015), (2.77,-7.165,3.14,-6.795), (3.97,-7.165,4.34,-6.795), (4.83,-7.165,5.2,-6.795), (5.93,-7.165,6.3,-6.795), (3.05,-5.47,3.42,-5.1), (4.31,-5.47,4.68,-5.1)])
sc_dff.add(gdstk.Reference(sky130_fd_pr__nfet_01v8_, (-1.495,-3.685)))
sc_dff.add(gdstk.Reference(sky130_fd_pr__pfet_01v8_, (-1.26,-2.165)))
sc_dff.add(gdstk.Reference(c_sky130_fd_pr__nfet_01v8_, (5.695,-7.68)))
sc_dff.add(gdstk.Reference(c_sky130_fd_pr__nfet_01v8__, (5.295,-7.68)))
sc_dff.add(gdstk.Reference(c_sky130_fd_pr__pfet_01v8_, (5.135,-6.055), rotation=pi))
sc_dff.add(gdstk.Reference(c_sky130_fd_pr__nfet_01v8___, (3.855,-7.68), rotation=pi))
sc_dff.add(gdstk.Reference(c_sky130_fd_pr__nfet_01v8____, (4.255,-7.68), rotation=pi))
sc_dff.add(gdstk.Reference(c_sky130_fd_pr__pfet_01v8__, (4.695,-6.055)))
sc_dff.add(gdstk.Reference(c_sky130_fd_pr__nfet_01v8_____, (-1.7,-0.795)))
sc_dff.add(gdstk.Reference(c_sky130_fd_pr__pfet_01v8___, (3.295,-6.055)))
sc_dff.add(gdstk.Reference(c_sky130_fd_pr__pfet_01v8____, (3.695,-6.055)))
sc_dff.add(gdstk.Label('vdd', (2.5,-4.75), layer=68, texttype=5))
sc_dff.add(gdstk.Label('vss', (2.5,-8.75), layer=68, texttype=5))
sc_dff.add(gdstk.Label('d', (3,-7), layer=68, texttype=5))
sc_dff.add(gdstk.Label('clk', (3,-6.25), layer=68, texttype=5))
sc_dff.add(gdstk.Label('q', (6.5,-7), layer=68, texttype=5))

c_sky130_fd_pr__nfet_01v8______ = lib.new_cell('sky130_fd_pr__nfet_01v8_sc_and2_m4')
R(c_sky130_fd_pr__nfet_01v8______, diff, [(-0.325,-0.225,0.365,0.225)])
R(c_sky130_fd_pr__nfet_01v8______, poly, [(-0.075,-0.355,0.075,0.355)])
R(c_sky130_fd_pr__nfet_01v8______, licon, [(0.135,-0.085,0.305,0.085)])
R(c_sky130_fd_pr__nfet_01v8______, li1, [(0.135,-0.245,0.305,0.245)])
R(c_sky130_fd_pr__nfet_01v8______, nsdm, [(-0.45,-0.35,0.49,0.35)])
c_sky130_fd_pr__nfet_01v8______.add(gdstk.Label('D', (-0.22,0), layer=65, texttype=6))
c_sky130_fd_pr__nfet_01v8______.add(gdstk.Label('S', (0.22,0), layer=67, texttype=5))

c_sky130_fd_pr__nfet_01v8_______ = lib.new_cell('sky130_fd_pr__nfet_01v8_sc_and2_m3')
R(c_sky130_fd_pr__nfet_01v8_______, diff, [(-0.365,-0.225,0.325,0.225)])
R(c_sky130_fd_pr__nfet_01v8_______, poly, [(-0.075,-0.355,0.075,0.355)])
R(c_sky130_fd_pr__nfet_01v8_______, licon, [(-0.305,-0.085,-0.135,0.085)])
R(c_sky130_fd_pr__nfet_01v8_______, li1, [(-0.305,-0.245,-0.135,0.245)])
R(c_sky130_fd_pr__nfet_01v8_______, nsdm, [(-0.49,-0.35,0.45,0.35)])
c_sky130_fd_pr__nfet_01v8_______.add(gdstk.Label('D', (-0.22,0), layer=67, texttype=5))
c_sky130_fd_pr__nfet_01v8_______.add(gdstk.Label('S', (0.22,0), layer=65, texttype=6))

c_sky130_fd_pr__pfet_01v8_____ = lib.new_cell('sky130_fd_pr__pfet_01v8_sc_and2_m2')
R(c_sky130_fd_pr__pfet_01v8_____, nwell, [(-0.545,-0.76,0.545,0.76)])
R(c_sky130_fd_pr__pfet_01v8_____, diff, [(-0.365,-0.45,0.365,0.45)])
R(c_sky130_fd_pr__pfet_01v8_____, poly, [(-0.075,-0.58,0.075,0.58)])
R(c_sky130_fd_pr__pfet_01v8_____, licon, [(-0.305,-0.255,-0.135,-0.085), (0.135,-0.255,0.305,-0.085), (-0.305,0.085,-0.135,0.255), (0.135,0.085,0.305,0.255)])
R(c_sky130_fd_pr__pfet_01v8_____, li1, [(-0.305,-0.47,-0.135,0.47), (0.135,-0.47,0.305,0.47)])
R(c_sky130_fd_pr__pfet_01v8_____, psdm, [(-0.49,-0.575,0.49,0.575)])
c_sky130_fd_pr__pfet_01v8_____.add(gdstk.Label('D', (-0.22,0), layer=67, texttype=5))
c_sky130_fd_pr__pfet_01v8_____.add(gdstk.Label('S', (0.22,0), layer=67, texttype=5))

c_sky130_fd_pr__pfet_01v8______ = lib.new_cell('sky130_fd_pr__pfet_01v8_sc_and2_m1')
R(c_sky130_fd_pr__pfet_01v8______, nwell, [(-0.545,-0.76,0.545,0.76)])
R(c_sky130_fd_pr__pfet_01v8______, diff, [(-0.365,-0.45,0.365,0.45)])
R(c_sky130_fd_pr__pfet_01v8______, poly, [(-0.075,-0.58,0.075,0.58)])
R(c_sky130_fd_pr__pfet_01v8______, licon, [(-0.305,-0.255,-0.135,-0.085), (0.135,-0.255,0.305,-0.085), (-0.305,0.085,-0.135,0.255), (0.135,0.085,0.305,0.255)])
R(c_sky130_fd_pr__pfet_01v8______, li1, [(-0.305,-0.47,-0.135,0.47), (0.135,-0.47,0.305,0.47)])
R(c_sky130_fd_pr__pfet_01v8______, psdm, [(-0.49,-0.575,0.49,0.575)])
c_sky130_fd_pr__pfet_01v8______.add(gdstk.Label('D', (-0.22,0), layer=67, texttype=5))
c_sky130_fd_pr__pfet_01v8______.add(gdstk.Label('S', (0.22,0), layer=67, texttype=5))

sc_and2 = lib.new_cell('sc_and2')
R(sc_and2, nwell, [(4.5,-5.815,7,-4.295)])
R(sc_and2, poly, [(5.15,-6.325,5.3,-5.99), (5.51,-6.325,5.78,-5.995), (5.99,-6.23,6.58,-5.73), (5.55,-5.995,5.7,-5.635), (4.99,-5.99,5.3,-5.66), (5.11,-5.66,5.26,-5.635)])
R(sc_and2, licon, [(5.56,-6.245,5.73,-6.075), (5.04,-5.91,5.21,-5.74), (6.07,-5.91,6.24,-5.74)])
A(sc_and2, li1, 4.88, -4.585, 0.17, 0.71, 3, 1, 0.88, 0)
R(sc_and2, li1, [(4.5,-7.885,7,-7.635), (5.76,-7.635,5.93,-6.925), (6.64,-7.635,6.81,-6.925), (5.09,-6.925,5.59,-6.435), (4.81,-6.265,5.81,-6.095), (5.48,-6.095,5.81,-6.075), (5.99,-5.95,6.32,-5.905), (4.75,-5.91,5.29,-5.695), (5.63,-5.905,6.32,-5.735), (5.49,-5.525,5.59,-5.445), (5.42,-5.445,5.59,-4.665), (5.49,-4.665,5.59,-4.585), (4.5,-3.875,7,-3.625)])
A(sc_and2, mcon, 4.75, -7.875, 0.17, 0.17, 5, 2, 0.5, 4)
R(sc_and2, mcon, [(5.42,-6.765,5.59,-6.595), (4.915,-6.265,5.085,-6.095), (5.63,-5.905,5.8,-5.735), (4.915,-5.875,5.085,-5.705), (5.42,-5.32,5.59,-5.15), (5.42,-4.96,5.59,-4.79)])
R(sc_and2, met1_pin, [(4.5,-8,5,-7.5), (4.75,-6.75,5.25,-6.25), (6,-6.25,6.5,-5.75), (4.75,-5.75,5.25,-5.25), (4.5,-4,5,-3.5)])
R(sc_and2, met1, [(4.5,-8,7,-7.5), (5.39,-6.905,5.62,-5.935), (4.75,-6.75,5.25,-6.065), (6.17,-6.455,6.4,-6.25), (6,-6.25,6.5,-5.75), (5.39,-5.935,5.86,-5.705), (4.75,-5.91,5.25,-5.25), (6.17,-5.75,6.4,-5.505), (5.39,-5.705,5.62,-4.605), (4.5,-4,7,-3.5)])
R(sc_and2, npc, [(5.46,-6.345,5.83,-6.13), (5.085,-6.13,6.195,-6.01), (4.94,-6.01,6.34,-5.855), (4.94,-5.855,5.31,-5.64), (5.97,-5.855,6.34,-5.64)])
sc_and2.add(gdstk.Reference(sky130_fd_pr__nfet_01v8_, (-1.565,-2.685)))
sc_and2.add(gdstk.Reference(sky130_fd_pr__pfet_01v8_, (-1.33,-1.165)))
sc_and2.add(gdstk.Reference(c_sky130_fd_pr__nfet_01v8______, (5.625,-6.68)))
sc_and2.add(gdstk.Reference(c_sky130_fd_pr__nfet_01v8_______, (5.225,-6.68)))
sc_and2.add(gdstk.Reference(c_sky130_fd_pr__pfet_01v8_____, (5.625,-5.055)))
sc_and2.add(gdstk.Reference(c_sky130_fd_pr__pfet_01v8______, (5.185,-5.055), rotation=pi))
sc_and2.add(gdstk.Label('a', (5,-5.5), layer=68, texttype=5))
sc_and2.add(gdstk.Label('b', (5,-6.5), layer=68, texttype=5))
sc_and2.add(gdstk.Label('y', (6.25,-6), layer=68, texttype=5))
sc_and2.add(gdstk.Label('vdd', (4.75,-3.75), layer=68, texttype=5))
sc_and2.add(gdstk.Label('vss', (4.75,-7.75), layer=68, texttype=5))

sc_body_conn = lib.new_cell('sc_body_conn')
R(sc_body_conn, nwell, [(-0.75,2.185,0,3.705)])
R(sc_body_conn, tap, [(-0.57,0.87,-0.18,1.77), (-0.57,2.495,-0.18,3.395)])
R(sc_body_conn, licon, [(-0.46,1.065,-0.29,1.235), (-0.46,1.405,-0.29,1.575), (-0.46,2.69,-0.29,2.86), (-0.46,3.03,-0.29,3.2)])
R(sc_body_conn, li1, [(-0.75,0.115,0,0.365), (-0.57,0.365,-0.18,1.73), (-0.57,2.535,-0.18,4.125), (-0.75,4.125,0,4.375)])
R(sc_body_conn, mcon, [(-0.5,0.125,-0.33,0.295), (-0.5,4.125,-0.33,4.295)])
R(sc_body_conn, met1_pin, [(-0.75,0,-0.25,0.5), (-0.75,4,-0.25,4.5)])
R(sc_body_conn, met1, [(-0.75,0,0,0.5), (-0.75,4,0,4.5)])
R(sc_body_conn, nsdm, [(-0.695,2.37,-0.055,3.52)])
R(sc_body_conn, psdm, [(-0.695,0.745,-0.055,1.895)])
sc_body_conn.add(gdstk.Label('vdd', (-0.5,4.25), layer=68, texttype=5))
sc_body_conn.add(gdstk.Label('vss', (-0.5,0.25), layer=68, texttype=5))

fd_div_3 = lib.new_cell('fd_div_3')
R(fd_div_3, met1_pin, [(14.75,-6.75,15.25,-6.25), (2,-6,2.5,-5.5), (2,-2,2.5,-1.5), (4.5,-1.25,5,-0.75)])
R(fd_div_3, met1, [(2.75,-6.75,16.25,-6.25), (2,-6,2.5,-5.5), (3.5,-5.25,4,-3.5), (11.75,-5.25,12.25,-3.5), (5.5,-4.75,7.5,-4.25), (2,-4.25,3.25,-3.75), (9.25,-4.25,10.25,-3.75), (14.25,-4.25,15,-3.75), (15.75,-4.25,16.25,-3.75), (7.5,-3.75,8,-3.25), (2,-3.5,4,-3), (10.25,-3.5,12.25,-3), (3.5,-3,4,-2.25), (11.75,-3,12.25,-2.25), (2,-2,2.5,-1.5), (3.5,-1.25,12.25,-0.75)])
R(fd_div_3, via, [(2.925,-6.575,3.075,-6.425), (7.675,-6.575,7.825,-6.425), (15.925,-6.575,16.075,-6.425), (2.925,-4.075,3.075,-3.925), (15.925,-4.075,16.075,-3.925), (7.675,-3.575,7.825,-3.425), (3.675,-3.325,3.825,-3.175), (11.925,-3.325,12.075,-3.175), (3.675,-1.075,3.825,-0.925), (11.925,-1.075,12.075,-0.925)])
R(fd_div_3, met2, [(2.75,-6.75,3.25,-3.75), (7.5,-6.75,8,-3.25), (15.75,-6.75,16.25,-3.75), (3.5,-3.5,4,-0.75), (11.75,-3.5,12.25,-0.75)])
R(fd_div_3, nsdm, [(14.565,-5.03,14.93,-4.33)])
R(fd_div_3, psdm, [(14.565,-3.63,14.93,-2.48)])
fd_div_3.add(gdstk.Reference(sc_not, (12,0)))
fd_div_3.add(gdstk.Reference(sc_dff, (7.5,3)))
fd_div_3.add(gdstk.Reference(sc_and2, (2.75,2)))
fd_div_3.add(gdstk.Reference(sc_dff, (-0.75,3)))
fd_div_3.add(gdstk.Reference(sc_body_conn, (7.25,-6)))
fd_div_3.add(gdstk.Label('vdd', (2.25,-1.75), layer=68, texttype=5))
fd_div_3.add(gdstk.Label('vss', (2.25,-5.75), layer=68, texttype=5))
fd_div_3.add(gdstk.Label('vin', (4.75,-1), layer=68, texttype=5))
fd_div_3.add(gdstk.Label('vout', (15,-6.5), layer=68, texttype=5))

fd_counter_program = lib.new_cell('fd_counter_program')
R(fd_counter_program, met1_pin, [(2.5,-11.25,3,-10.75), (32,-9,32.5,-8.5), (2.5,-8.75,3,-8.25), (15.75,-8.75,16.25,-8.25), (21.25,-8.75,21.75,-8.25), (26.25,-8.75,26.75,-8.25), (2.5,-7.25,3,-6.75)])
R(fd_counter_program, met1, [(2.5,-11.25,3,-10.75), (32,-9.5,32.5,-8.5), (15.75,-9,16.25,-8.75), (21.25,-9,21.75,-8.75), (26.25,-9,26.75,-8.75), (2.5,-8.75,3,-8.25), (15.75,-8.75,17.75,-8.25), (21.25,-8.75,22.75,-8.25), (26.25,-8.75,28.5,-8.25), (2.5,-7.25,3,-6.75)])
fd_counter_program.add(gdstk.Reference(fd_div_2, (29,-2)))
fd_counter_program.add(gdstk.Reference(fd_div_2, (23.25,-2)))
fd_counter_program.add(gdstk.Reference(fd_div_2, (18.25,-2)))
fd_counter_program.add(gdstk.Reference(fd_div_3, (0,-5.25)))
fd_counter_program.add(gdstk.Reference(sc_body_conn, (28,-11.25)))
fd_counter_program.add(gdstk.Reference(sc_body_conn, (17.25,-11.25)))
fd_counter_program.add(gdstk.Label('vdd', (2.75,-7), layer=68, texttype=5))
fd_counter_program.add(gdstk.Label('vss', (2.75,-11), layer=68, texttype=5))
fd_counter_program.add(gdstk.Label('vin', (2.75,-8.5), layer=68, texttype=5))
fd_counter_program.add(gdstk.Label('vout_div_3', (16,-8.5), layer=68, texttype=5))
fd_counter_program.add(gdstk.Label('vout_div_6', (21.5,-8.5), layer=68, texttype=5))
fd_counter_program.add(gdstk.Label('vout_div_12', (26.5,-8.5), layer=68, texttype=5))
fd_counter_program.add(gdstk.Label('vout_div_24', (32.25,-8.75), layer=68, texttype=5))

lib.write_gds('fd_counter_program.gds')
